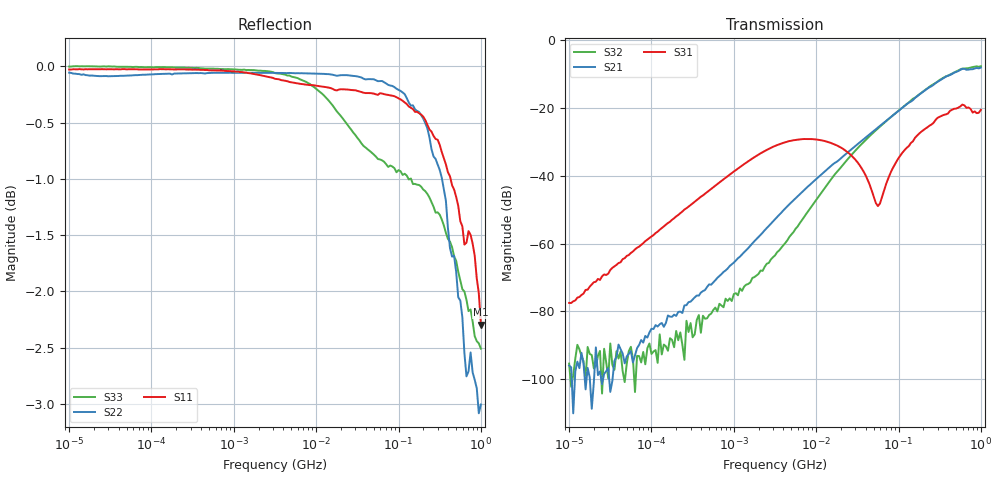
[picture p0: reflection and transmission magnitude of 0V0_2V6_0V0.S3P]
!Keysight Technologies,E5080A,MY55100144,A.11.70.03
!Date: Monday, November 13, 2017 17:24:37
!Correction: S11(Full 3 Port(1,2,3))
!S12(Full 3 Port(1,2,3))
!S13(Full 3 Port(1,2,3))
!S21(Full 3 Port(1,2,3))
!S22(Full 3 Port(1,2,3))
!S23(Full 3 Port(1,2,3))
!S31(Full 3 Port(1,2,3))
!S32(Full 3 Port(1,2,3))
!S33(Full 3 Port(1,2,3))
!S3P File: Measurements: <S11,S12,S13>,
!<S21,S22,S23>,
!<S31,S32,S33>:Log Frequency Sweep
# Hz S  RI  R 50
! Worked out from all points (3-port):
!   201 points, 10 kHz to 1 GHz, reference 50 ohm
!   strongest paths, dB at 10 kHz, 177.8 kHz, 3.162 MHz, 56.23 MHz, 1 GHz:
!     S31: -77.5, -53.0, -31.2, -48.9, -20.5
!     S21: -96.0, -81.6, -52.8, -25.7, -8.0
!     S32: -95.4, -88.4, -63.5, -26.0, -7.6
!   lowest |S11| = -2.3 dB at 1 GHz (marker M1), VSWR 7.61, Z = 381 + j0.721 ohm
!   |S11| at or under -10 dB: nowhere
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10000  0.9967 -0.00554  -1.45e-06 4.8e-06  2.44e-07 0.000122
       8.55e-06 1.33e-05  0.4706 -0.875  -9.08e-06 2.46e-05
       2.14e-05 0.000131  7.31e-06 1.52e-05  0.9998 -0.00235
63095.73  0.9964 -0.0356  -7.4e-06 6.18e-06  1.94e-05 0.000803
          -4.36e-06 2.21e-05  -0.8588 -0.4946  -2.15e-06 1.76e-05
          2.86e-05 0.000822  -5.55e-06 3.26e-06  0.9995 -0.00695
266072.5  0.9856 -0.1486  -3.61e-05 9.41e-05  0.0004 0.00328
          -1.91e-05 0.000122  -0.9851 -0.1249  1.64e-06 3.85e-05
          0.000404 0.00331  1.8e-05 7.02e-05  0.9982 -0.0264
3162278  0.1086 -0.9814  -0.000801 0.00212  0.0213 0.0173
         -0.000729 0.00217  -0.9933 0.00467  -0.000361 0.000568
         0.0215 0.0174  -0.000366 0.00056  0.9502 -0.2889
1.995262e7  -0.937 -0.2762  -5.01e-05 0.0181  0.0218 -0.0144
            1.01e-05 0.0182  -0.9867 0.0919  -0.00691 0.0114
            0.0219 -0.0144  -0.00693 0.0114  0.0398 -0.9496
5.623413e7  -0.9696 0.0573  0.0103 0.0507  0.00357 0.000519
            0.0103 0.0507  -0.9506 0.258  -0.00327 0.0501
            0.00355 0.000459  -0.0032 0.05  -0.7598 -0.5001
1.059254e8  -0.932 0.2567  0.0386 0.0886  0.00878 0.0182
            0.0387 0.0887  -0.8583 0.4628  0.0252 0.0938
            0.0088 0.0182  0.0251 0.0937  -0.8936 -0.0911
3.758374e8  -0.3692 0.8259  0.2893 0.0325  0.0807 -0.00655
            0.2895 0.0325  0.0968 0.8662  0.2895 0.0562
            0.0807 -0.00652  0.2893 0.0561  -0.4867 0.6889
7.079458e8  0.464 0.7061  0.1983 -0.3122  0.0111 -0.1016
            0.1981 -0.3125  0.6961 0.2265  0.2448 -0.3037
            0.0111 -0.1016  0.2449 -0.303  0.2577 0.7347
1e9  0.7678 0.000389  -0.1005 -0.3844  -0.0571 -0.0753
     -0.101 -0.3844  0.5905 -0.3899  -0.0467 -0.414
     -0.057 -0.0752  -0.0464 -0.414  0.682 0.3102
